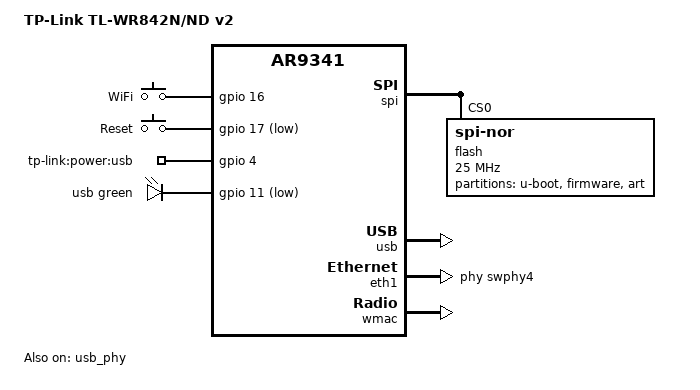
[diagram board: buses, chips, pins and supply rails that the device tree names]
// SPDX-License-Identifier: GPL-2.0-or-later OR MIT

#include <dt-bindings/leds/common.h>

#include "ar9341_tplink.dtsi"

/ {
	model = "TP-Link TL-WR842N/ND v2";
	compatible = "tplink,tl-wr842n-v2", "qca,ar9341";

	aliases {
		label-mac-device = &wmac;
	};

	keys {
		compatible = "gpio-keys";

		rfkill {
			label = "WiFi";
			linux,code = <KEY_RFKILL>;
			gpios = <&gpio 16 GPIO_ACTIVE_HIGH>;
			debounce-interval = <60>;
		};

		reset {
			label = "Reset";
			linux,code = <KEY_RESTART>;
			gpios = <&gpio 17 GPIO_ACTIVE_LOW>;
			debounce-interval = <60>;
		};
	};

	gpio-export {
		compatible = "gpio-export";

		gpio_usb_power {
			gpio-export,name = "tp-link:power:usb";
			gpio-export,output = <1>;
			gpios = <&gpio 4 GPIO_ACTIVE_HIGH>;
		};
	};
};

&leds {
	usb {
		function = LED_FUNCTION_USB;
		color = <LED_COLOR_ID_GREEN>;
		gpios = <&gpio 11 GPIO_ACTIVE_LOW>;
		trigger-sources = <&hub_port>;
		linux,default-trigger = "usbport";
	};
};

&spi {
	status = "okay";

	flash@0 {
		compatible = "jedec,spi-nor";
		reg = <0>;
		spi-max-frequency = <25000000>;

		partitions {
			compatible = "fixed-partitions";
			#address-cells = <1>;
			#size-cells = <1>;

			uboot: partition@0 {
				label = "u-boot";
				reg = <0x000000 0x020000>;
				read-only;

				nvmem-layout {
					compatible = "fixed-layout";
					#address-cells = <1>;
					#size-cells = <1>;

					macaddr_uboot_1fc00: macaddr@1fc00 {
						compatible = "mac-base";
						reg = <0x1fc00 0x6>;
						#nvmem-cell-cells = <1>;
					};
				};
			};

			partition@20000 {
				compatible = "tplink,firmware";
				label = "firmware";
				reg = <0x020000 0x7d0000>;
			};

			partition@7f0000 {
				label = "art";
				reg = <0x7f0000 0x010000>;
				read-only;

				nvmem-layout {
					compatible = "fixed-layout";
					#address-cells = <1>;
					#size-cells = <1>;

					cal_art_1000: calibration@1000 {
						reg = <0x1000 0x440>;
					};
				};
			};
		};
	};
};

&usb {
	status = "okay";
};

&usb_phy {
	status = "okay";
};

&eth0 {
	nvmem-cells = <&macaddr_uboot_1fc00 (-1)>;
	nvmem-cell-names = "mac-address";
};

&eth1 {
	phy-handle = <&swphy4>;

	nvmem-cells = <&macaddr_uboot_1fc00 0>;
	nvmem-cell-names = "mac-address";
};

&wmac {
	nvmem-cells = <&macaddr_uboot_1fc00 0>, <&cal_art_1000>;
	nvmem-cell-names = "mac-address", "calibration";
};
